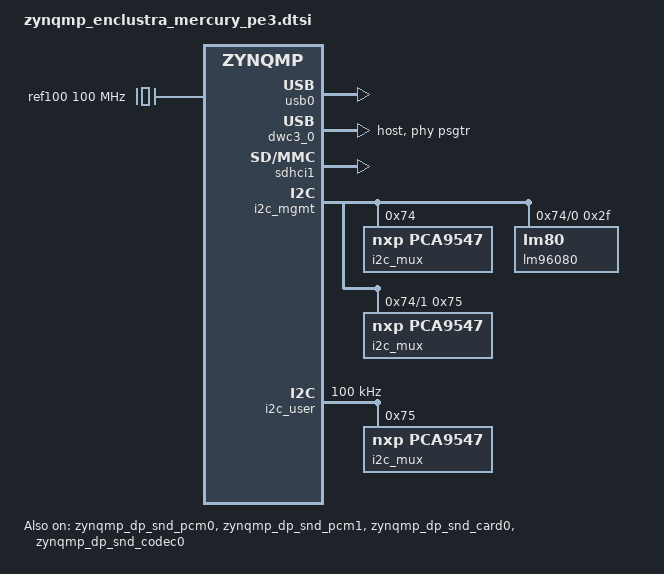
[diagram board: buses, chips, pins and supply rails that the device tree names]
#include <dt-bindings/phy/phy.h>

&usb0 {
	status = "okay";
};

&usb1 {
	status = "disabled";
};

&dwc3_0 {
	status = "okay";
	dr_mode = "host";
	snps,usb3_lpm_capable;
	phy-names = "usb3-phy";
	phys = <&psgtr 2 PHY_TYPE_USB3 0 2>;
	maximum-speed = "super-speed";
};

&dwc3_1 {
	status = "disabled";
	dr_mode = "host";
	snps,usb3_lpm_capable;
	phy-names = "usb3-phy";
	phys = <&psgtr 3 PHY_TYPE_USB3 1 2>;
	maximum-speed = "super-speed";
};

/* SD1 with level shifter */
&sdhci1 {
	status = "okay";
	no-1-8-v;	/* for 1.0 silicon */
	wp-inverted;
	xlnx,mio_bank = <1>;
};

&amba {
	ref100: ref100M {
		compatible = "fixed-clock";
		#clock-cells = <0>;
		clock-frequency = <100000000>;
	};
};

&i2c_mgmt {
	i2c_mux@74 {
		compatible = "nxp,pca9547";
		reg = <0x74>;

		i2c_mux@0 {
			reg = <0>;

			lm96080@2f {
				   status = "okay";
				   compatible = "lm80";
				   reg = <0x2f >;
			};
		};

		i2c_mux@1 {
			reg = <1>;

			i2c_mux@75 {
				   compatible = "nxp,pca9547";
				   reg = <0x75>;

			};
		};
	};
};


&i2c_user {
	status = "okay";
	clock-frequency = <100000>;
	i2c_mux@75 {
		compatible = "nxp,pca9547";
		reg = <0x75>;
	};
};

&sata {
	status = "disabled";
	ceva,p0-cominit-params = /bits/ 8 <0x18 0x40 0x18 0x28>;
	ceva,p0-comwake-params = /bits/ 8 <0x06 0x14 0x08 0x0E>;
	ceva,p0-burst-params = /bits/ 8 <0x13 0x08 0x4A 0x06>;
	ceva,p0-retry-params = /bits/ 16 <0x96A4 0x3FFC>;
	ceva,p1-cominit-params = /bits/ 8 <0x18 0x40 0x18 0x28>;
	ceva,p1-comwake-params = /bits/ 8 <0x06 0x14 0x08 0x0E>;
	ceva,p1-burst-params = /bits/ 8 <0x13 0x08 0x4A 0x06>;
	ceva,p1-retry-params = /bits/ 16 <0x96A4 0x3FFC>;
};

&zynqmp_dp_snd_pcm0 {
    status = "okay";
};

&zynqmp_dp_snd_pcm1 {
    status = "okay";
};

&zynqmp_dp_snd_card0 {
    status = "okay";
};

&zynqmp_dp_snd_codec0 {
    status = "okay";
};
